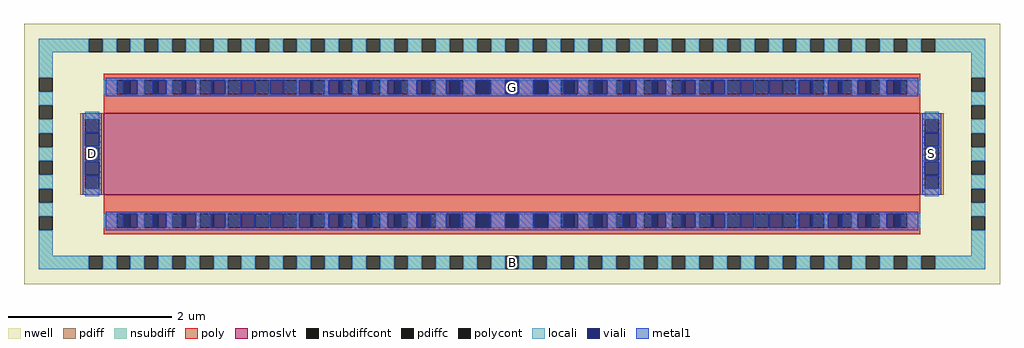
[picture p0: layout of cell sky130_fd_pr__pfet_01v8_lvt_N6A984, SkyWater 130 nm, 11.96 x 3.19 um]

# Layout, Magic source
magic
tech sky130A
magscale 1 2
<< nwell >>
rect -1196 -319 1196 319
<< pmoslvt >>
rect -1000 -100 1000 100
<< pdiff >>
rect -1058 85 -1000 100
rect -1058 51 -1046 85
rect -1012 51 -1000 85
rect -1058 17 -1000 51
rect -1058 -17 -1046 17
rect -1012 -17 -1000 17
rect -1058 -51 -1000 -17
rect -1058 -85 -1046 -51
rect -1012 -85 -1000 -51
rect -1058 -100 -1000 -85
rect 1000 85 1058 100
rect 1000 51 1012 85
rect 1046 51 1058 85
rect 1000 17 1058 51
rect 1000 -17 1012 17
rect 1046 -17 1058 17
rect 1000 -51 1058 -17
rect 1000 -85 1012 -51
rect 1046 -85 1058 -51
rect 1000 -100 1058 -85
<< pdiffc >>
rect -1046 51 -1012 85
rect -1046 -17 -1012 17
rect -1046 -85 -1012 -51
rect 1012 51 1046 85
rect 1012 -17 1046 17
rect 1012 -85 1046 -51
<< nsubdiff >>
rect -1160 249 -1037 283
rect -1003 249 -969 283
rect -935 249 -901 283
rect -867 249 -833 283
rect -799 249 -765 283
rect -731 249 -697 283
rect -663 249 -629 283
rect -595 249 -561 283
rect -527 249 -493 283
rect -459 249 -425 283
rect -391 249 -357 283
rect -323 249 -289 283
rect -255 249 -221 283
rect -187 249 -153 283
rect -119 249 -85 283
rect -51 249 -17 283
rect 17 249 51 283
rect 85 249 119 283
rect 153 249 187 283
rect 221 249 255 283
rect 289 249 323 283
rect 357 249 391 283
rect 425 249 459 283
rect 493 249 527 283
rect 561 249 595 283
rect 629 249 663 283
rect 697 249 731 283
rect 765 249 799 283
rect 833 249 867 283
rect 901 249 935 283
rect 969 249 1003 283
rect 1037 249 1160 283
rect -1160 187 -1126 249
rect -1160 119 -1126 153
rect 1126 187 1160 249
rect 1126 119 1160 153
rect -1160 51 -1126 85
rect -1160 -17 -1126 17
rect -1160 -85 -1126 -51
rect 1126 51 1160 85
rect 1126 -17 1160 17
rect 1126 -85 1160 -51
rect -1160 -153 -1126 -119
rect -1160 -249 -1126 -187
rect 1126 -153 1160 -119
rect 1126 -249 1160 -187
rect -1160 -283 -1037 -249
rect -1003 -283 -969 -249
rect -935 -283 -901 -249
rect -867 -283 -833 -249
rect -799 -283 -765 -249
rect -731 -283 -697 -249
rect -663 -283 -629 -249
rect -595 -283 -561 -249
rect -527 -283 -493 -249
rect -459 -283 -425 -249
rect -391 -283 -357 -249
rect -323 -283 -289 -249
rect -255 -283 -221 -249
rect -187 -283 -153 -249
rect -119 -283 -85 -249
rect -51 -283 -17 -249
rect 17 -283 51 -249
rect 85 -283 119 -249
rect 153 -283 187 -249
rect 221 -283 255 -249
rect 289 -283 323 -249
rect 357 -283 391 -249
rect 425 -283 459 -249
rect 493 -283 527 -249
rect 561 -283 595 -249
rect 629 -283 663 -249
rect 697 -283 731 -249
rect 765 -283 799 -249
rect 833 -283 867 -249
rect 901 -283 935 -249
rect 969 -283 1003 -249
rect 1037 -283 1160 -249
<< nsubdiffcont >>
rect -1037 249 -1003 283
rect -969 249 -935 283
rect -901 249 -867 283
rect -833 249 -799 283
rect -765 249 -731 283
rect -697 249 -663 283
rect -629 249 -595 283
rect -561 249 -527 283
rect -493 249 -459 283
rect -425 249 -391 283
rect -357 249 -323 283
rect -289 249 -255 283
rect -221 249 -187 283
rect -153 249 -119 283
rect -85 249 -51 283
rect -17 249 17 283
rect 51 249 85 283
rect 119 249 153 283
rect 187 249 221 283
rect 255 249 289 283
rect 323 249 357 283
rect 391 249 425 283
rect 459 249 493 283
rect 527 249 561 283
rect 595 249 629 283
rect 663 249 697 283
rect 731 249 765 283
rect 799 249 833 283
rect 867 249 901 283
rect 935 249 969 283
rect 1003 249 1037 283
rect -1160 153 -1126 187
rect -1160 85 -1126 119
rect 1126 153 1160 187
rect -1160 17 -1126 51
rect -1160 -51 -1126 -17
rect -1160 -119 -1126 -85
rect 1126 85 1160 119
rect 1126 17 1160 51
rect 1126 -51 1160 -17
rect -1160 -187 -1126 -153
rect 1126 -119 1160 -85
rect 1126 -187 1160 -153
rect -1037 -283 -1003 -249
rect -969 -283 -935 -249
rect -901 -283 -867 -249
rect -833 -283 -799 -249
rect -765 -283 -731 -249
rect -697 -283 -663 -249
rect -629 -283 -595 -249
rect -561 -283 -527 -249
rect -493 -283 -459 -249
rect -425 -283 -391 -249
rect -357 -283 -323 -249
rect -289 -283 -255 -249
rect -221 -283 -187 -249
rect -153 -283 -119 -249
rect -85 -283 -51 -249
rect -17 -283 17 -249
rect 51 -283 85 -249
rect 119 -283 153 -249
rect 187 -283 221 -249
rect 255 -283 289 -249
rect 323 -283 357 -249
rect 391 -283 425 -249
rect 459 -283 493 -249
rect 527 -283 561 -249
rect 595 -283 629 -249
rect 663 -283 697 -249
rect 731 -283 765 -249
rect 799 -283 833 -249
rect 867 -283 901 -249
rect 935 -283 969 -249
rect 1003 -283 1037 -249
<< poly >>
rect -1000 181 1000 197
rect -1000 147 -969 181
rect -935 147 -901 181
rect -867 147 -833 181
rect -799 147 -765 181
rect -731 147 -697 181
rect -663 147 -629 181
rect -595 147 -561 181
rect -527 147 -493 181
rect -459 147 -425 181
rect -391 147 -357 181
rect -323 147 -289 181
rect -255 147 -221 181
rect -187 147 -153 181
rect -119 147 -85 181
rect -51 147 -17 181
rect 17 147 51 181
rect 85 147 119 181
rect 153 147 187 181
rect 221 147 255 181
rect 289 147 323 181
rect 357 147 391 181
rect 425 147 459 181
rect 493 147 527 181
rect 561 147 595 181
rect 629 147 663 181
rect 697 147 731 181
rect 765 147 799 181
rect 833 147 867 181
rect 901 147 935 181
rect 969 147 1000 181
rect -1000 100 1000 147
rect -1000 -147 1000 -100
rect -1000 -181 -969 -147
rect -935 -181 -901 -147
rect -867 -181 -833 -147
rect -799 -181 -765 -147
rect -731 -181 -697 -147
rect -663 -181 -629 -147
rect -595 -181 -561 -147
rect -527 -181 -493 -147
rect -459 -181 -425 -147
rect -391 -181 -357 -147
rect -323 -181 -289 -147
rect -255 -181 -221 -147
rect -187 -181 -153 -147
rect -119 -181 -85 -147
rect -51 -181 -17 -147
rect 17 -181 51 -147
rect 85 -181 119 -147
rect 153 -181 187 -147
rect 221 -181 255 -147
rect 289 -181 323 -147
rect 357 -181 391 -147
rect 425 -181 459 -147
rect 493 -181 527 -147
rect 561 -181 595 -147
rect 629 -181 663 -147
rect 697 -181 731 -147
rect 765 -181 799 -147
rect 833 -181 867 -147
rect 901 -181 935 -147
rect 969 -181 1000 -147
rect -1000 -197 1000 -181
<< polycont >>
rect -969 147 -935 181
rect -901 147 -867 181
rect -833 147 -799 181
rect -765 147 -731 181
rect -697 147 -663 181
rect -629 147 -595 181
rect -561 147 -527 181
rect -493 147 -459 181
rect -425 147 -391 181
rect -357 147 -323 181
rect -289 147 -255 181
rect -221 147 -187 181
rect -153 147 -119 181
rect -85 147 -51 181
rect -17 147 17 181
rect 51 147 85 181
rect 119 147 153 181
rect 187 147 221 181
rect 255 147 289 181
rect 323 147 357 181
rect 391 147 425 181
rect 459 147 493 181
rect 527 147 561 181
rect 595 147 629 181
rect 663 147 697 181
rect 731 147 765 181
rect 799 147 833 181
rect 867 147 901 181
rect 935 147 969 181
rect -969 -181 -935 -147
rect -901 -181 -867 -147
rect -833 -181 -799 -147
rect -765 -181 -731 -147
rect -697 -181 -663 -147
rect -629 -181 -595 -147
rect -561 -181 -527 -147
rect -493 -181 -459 -147
rect -425 -181 -391 -147
rect -357 -181 -323 -147
rect -289 -181 -255 -147
rect -221 -181 -187 -147
rect -153 -181 -119 -147
rect -85 -181 -51 -147
rect -17 -181 17 -147
rect 51 -181 85 -147
rect 119 -181 153 -147
rect 187 -181 221 -147
rect 255 -181 289 -147
rect 323 -181 357 -147
rect 391 -181 425 -147
rect 459 -181 493 -147
rect 527 -181 561 -147
rect 595 -181 629 -147
rect 663 -181 697 -147
rect 731 -181 765 -147
rect 799 -181 833 -147
rect 867 -181 901 -147
rect 935 -181 969 -147
<< locali >>
rect -1160 249 -1037 283
rect -1003 249 -969 283
rect -935 249 -901 283
rect -867 249 -833 283
rect -799 249 -765 283
rect -731 249 -697 283
rect -663 249 -629 283
rect -595 249 -561 283
rect -527 249 -493 283
rect -459 249 -425 283
rect -391 249 -357 283
rect -323 249 -289 283
rect -255 249 -221 283
rect -187 249 -153 283
rect -119 249 -85 283
rect -51 249 -17 283
rect 17 249 51 283
rect 85 249 119 283
rect 153 249 187 283
rect 221 249 255 283
rect 289 249 323 283
rect 357 249 391 283
rect 425 249 459 283
rect 493 249 527 283
rect 561 249 595 283
rect 629 249 663 283
rect 697 249 731 283
rect 765 249 799 283
rect 833 249 867 283
rect 901 249 935 283
rect 969 249 1003 283
rect 1037 249 1160 283
rect -1160 187 -1126 249
rect 1126 187 1160 249
rect -1160 119 -1126 153
rect -1000 147 -969 181
rect -919 147 -901 181
rect -847 147 -833 181
rect -775 147 -765 181
rect -703 147 -697 181
rect -631 147 -629 181
rect -595 147 -593 181
rect -527 147 -521 181
rect -459 147 -449 181
rect -391 147 -377 181
rect -323 147 -305 181
rect -255 147 -233 181
rect -187 147 -161 181
rect -119 147 -89 181
rect -51 147 -17 181
rect 17 147 51 181
rect 89 147 119 181
rect 161 147 187 181
rect 233 147 255 181
rect 305 147 323 181
rect 377 147 391 181
rect 449 147 459 181
rect 521 147 527 181
rect 593 147 595 181
rect 629 147 631 181
rect 697 147 703 181
rect 765 147 775 181
rect 833 147 847 181
rect 901 147 919 181
rect 969 147 1000 181
rect 1126 119 1160 153
rect -1160 51 -1126 85
rect -1160 -17 -1126 17
rect -1160 -85 -1126 -51
rect -1046 85 -1012 104
rect -1046 17 -1012 19
rect -1046 -19 -1012 -17
rect -1046 -104 -1012 -85
rect 1012 85 1046 104
rect 1012 17 1046 19
rect 1012 -19 1046 -17
rect 1012 -104 1046 -85
rect 1126 51 1160 85
rect 1126 -17 1160 17
rect 1126 -85 1160 -51
rect -1160 -153 -1126 -119
rect -1000 -181 -969 -147
rect -919 -181 -901 -147
rect -847 -181 -833 -147
rect -775 -181 -765 -147
rect -703 -181 -697 -147
rect -631 -181 -629 -147
rect -595 -181 -593 -147
rect -527 -181 -521 -147
rect -459 -181 -449 -147
rect -391 -181 -377 -147
rect -323 -181 -305 -147
rect -255 -181 -233 -147
rect -187 -181 -161 -147
rect -119 -181 -89 -147
rect -51 -181 -17 -147
rect 17 -181 51 -147
rect 89 -181 119 -147
rect 161 -181 187 -147
rect 233 -181 255 -147
rect 305 -181 323 -147
rect 377 -181 391 -147
rect 449 -181 459 -147
rect 521 -181 527 -147
rect 593 -181 595 -147
rect 629 -181 631 -147
rect 697 -181 703 -147
rect 765 -181 775 -147
rect 833 -181 847 -147
rect 901 -181 919 -147
rect 969 -181 1000 -147
rect 1126 -153 1160 -119
rect -1160 -249 -1126 -187
rect 1126 -249 1160 -187
rect -1160 -283 -1037 -249
rect -1003 -283 -969 -249
rect -935 -283 -901 -249
rect -867 -283 -833 -249
rect -799 -283 -765 -249
rect -731 -283 -697 -249
rect -663 -283 -629 -249
rect -595 -283 -561 -249
rect -527 -283 -493 -249
rect -459 -283 -425 -249
rect -391 -283 -357 -249
rect -323 -283 -289 -249
rect -255 -283 -221 -249
rect -187 -283 -153 -249
rect -119 -283 -85 -249
rect -51 -283 -17 -249
rect 17 -283 51 -249
rect 85 -283 119 -249
rect 153 -283 187 -249
rect 221 -283 255 -249
rect 289 -283 323 -249
rect 357 -283 391 -249
rect 425 -283 459 -249
rect 493 -283 527 -249
rect 561 -283 595 -249
rect 629 -283 663 -249
rect 697 -283 731 -249
rect 765 -283 799 -249
rect 833 -283 867 -249
rect 901 -283 935 -249
rect 969 -283 1003 -249
rect 1037 -283 1160 -249
<< viali >>
rect -953 147 -935 181
rect -935 147 -919 181
rect -881 147 -867 181
rect -867 147 -847 181
rect -809 147 -799 181
rect -799 147 -775 181
rect -737 147 -731 181
rect -731 147 -703 181
rect -665 147 -663 181
rect -663 147 -631 181
rect -593 147 -561 181
rect -561 147 -559 181
rect -521 147 -493 181
rect -493 147 -487 181
rect -449 147 -425 181
rect -425 147 -415 181
rect -377 147 -357 181
rect -357 147 -343 181
rect -305 147 -289 181
rect -289 147 -271 181
rect -233 147 -221 181
rect -221 147 -199 181
rect -161 147 -153 181
rect -153 147 -127 181
rect -89 147 -85 181
rect -85 147 -55 181
rect -17 147 17 181
rect 55 147 85 181
rect 85 147 89 181
rect 127 147 153 181
rect 153 147 161 181
rect 199 147 221 181
rect 221 147 233 181
rect 271 147 289 181
rect 289 147 305 181
rect 343 147 357 181
rect 357 147 377 181
rect 415 147 425 181
rect 425 147 449 181
rect 487 147 493 181
rect 493 147 521 181
rect 559 147 561 181
rect 561 147 593 181
rect 631 147 663 181
rect 663 147 665 181
rect 703 147 731 181
rect 731 147 737 181
rect 775 147 799 181
rect 799 147 809 181
rect 847 147 867 181
rect 867 147 881 181
rect 919 147 935 181
rect 935 147 953 181
rect -1046 51 -1012 53
rect -1046 19 -1012 51
rect -1046 -51 -1012 -19
rect -1046 -53 -1012 -51
rect 1012 51 1046 53
rect 1012 19 1046 51
rect 1012 -51 1046 -19
rect 1012 -53 1046 -51
rect -953 -181 -935 -147
rect -935 -181 -919 -147
rect -881 -181 -867 -147
rect -867 -181 -847 -147
rect -809 -181 -799 -147
rect -799 -181 -775 -147
rect -737 -181 -731 -147
rect -731 -181 -703 -147
rect -665 -181 -663 -147
rect -663 -181 -631 -147
rect -593 -181 -561 -147
rect -561 -181 -559 -147
rect -521 -181 -493 -147
rect -493 -181 -487 -147
rect -449 -181 -425 -147
rect -425 -181 -415 -147
rect -377 -181 -357 -147
rect -357 -181 -343 -147
rect -305 -181 -289 -147
rect -289 -181 -271 -147
rect -233 -181 -221 -147
rect -221 -181 -199 -147
rect -161 -181 -153 -147
rect -153 -181 -127 -147
rect -89 -181 -85 -147
rect -85 -181 -55 -147
rect -17 -181 17 -147
rect 55 -181 85 -147
rect 85 -181 89 -147
rect 127 -181 153 -147
rect 153 -181 161 -147
rect 199 -181 221 -147
rect 221 -181 233 -147
rect 271 -181 289 -147
rect 289 -181 305 -147
rect 343 -181 357 -147
rect 357 -181 377 -147
rect 415 -181 425 -147
rect 425 -181 449 -147
rect 487 -181 493 -147
rect 493 -181 521 -147
rect 559 -181 561 -147
rect 561 -181 593 -147
rect 631 -181 663 -147
rect 663 -181 665 -147
rect 703 -181 731 -147
rect 731 -181 737 -147
rect 775 -181 799 -147
rect 799 -181 809 -147
rect 847 -181 867 -147
rect 867 -181 881 -147
rect 919 -181 935 -147
rect 935 -181 953 -147
<< metal1 >>
rect -996 181 996 187
rect -996 147 -953 181
rect -919 147 -881 181
rect -847 147 -809 181
rect -775 147 -737 181
rect -703 147 -665 181
rect -631 147 -593 181
rect -559 147 -521 181
rect -487 147 -449 181
rect -415 147 -377 181
rect -343 147 -305 181
rect -271 147 -233 181
rect -199 147 -161 181
rect -127 147 -89 181
rect -55 147 -17 181
rect 17 147 55 181
rect 89 147 127 181
rect 161 147 199 181
rect 233 147 271 181
rect 305 147 343 181
rect 377 147 415 181
rect 449 147 487 181
rect 521 147 559 181
rect 593 147 631 181
rect 665 147 703 181
rect 737 147 775 181
rect 809 147 847 181
rect 881 147 919 181
rect 953 147 996 181
rect -996 141 996 147
rect -1052 53 -1006 100
rect -1052 19 -1046 53
rect -1012 19 -1006 53
rect -1052 -19 -1006 19
rect -1052 -53 -1046 -19
rect -1012 -53 -1006 -19
rect -1052 -100 -1006 -53
rect 1006 53 1052 100
rect 1006 19 1012 53
rect 1046 19 1052 53
rect 1006 -19 1052 19
rect 1006 -53 1012 -19
rect 1046 -53 1052 -19
rect 1006 -100 1052 -53
rect -996 -147 996 -141
rect -996 -181 -953 -147
rect -919 -181 -881 -147
rect -847 -181 -809 -147
rect -775 -181 -737 -147
rect -703 -181 -665 -147
rect -631 -181 -593 -147
rect -559 -181 -521 -147
rect -487 -181 -449 -147
rect -415 -181 -377 -147
rect -343 -181 -305 -147
rect -271 -181 -233 -147
rect -199 -181 -161 -147
rect -127 -181 -89 -147
rect -55 -181 -17 -147
rect 17 -181 55 -147
rect 89 -181 127 -147
rect 161 -181 199 -147
rect 233 -181 271 -147
rect 305 -181 343 -147
rect 377 -181 415 -147
rect 449 -181 487 -147
rect 521 -181 559 -147
rect 593 -181 631 -147
rect 665 -181 703 -147
rect 737 -181 775 -147
rect 809 -181 847 -147
rect 881 -181 919 -147
rect 953 -181 996 -147
rect -996 -187 996 -181
<< labels >>
rlabel locali s 0 -266 0 -266 4 B
rlabel locali s -1029 0 -1029 0 4 D
rlabel locali s 1029 0 1029 0 4 S
rlabel locali s 0 164 0 164 4 G
<< properties >>
string FIXED_BBOX -1143 -266 1143 266
<< end >>
